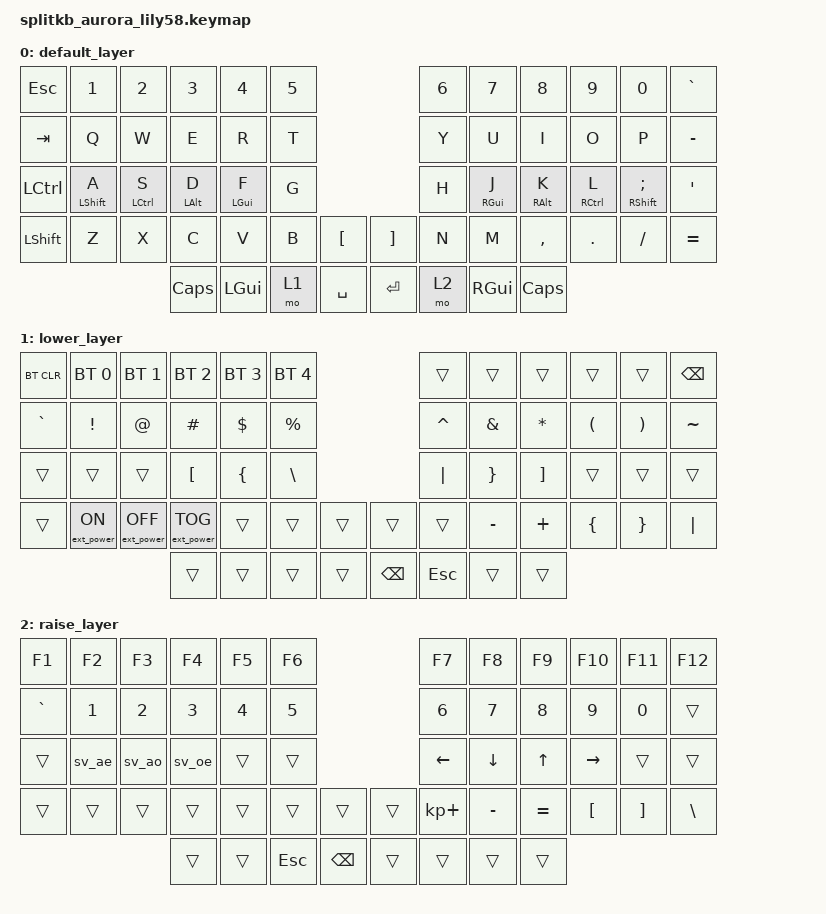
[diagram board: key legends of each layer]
/*
 * Copyright (c) 2022 The ZMK Contributors
 *
 * SPDX-License-Identifier: MIT
 */
#define HOST_OS 1

#include <behaviors.dtsi>
#include <dt-bindings/zmk/keys.h>
#include <dt-bindings/zmk/bt.h>
#include <dt-bindings/zmk/ext_power.h>
#include <zmk-helpers/helper.h>
#include <zmk-helpers/key-labels/lily58.h>
#include <zmk-helpers/unicode-chars/swedish.dtsi>

// lily58 keymap defined in zmk-helpers/key-labels/lily58.h
// ╭────────────────────────────┬────────────────────────────╮ ╭─────────────────────────────┬─────────────────────────────╮
// │  0   1   2   3   4   5     │      6   7   8   9  10  11 │ │ LT5 LT4 LT3 LT2 LT1 LT0     │     RT0 RT1 RT2 RT3 RT4 RT5 │
// │ 12  13  14  15  16  17     │     18  19  20  21  22  23 │ │ LM5 LM4 LM3 LM2 LM1 LM0     │     RM0 RM1 RM2 RM3 RM4 RM5 │
// │ 24  25  26  27  28  29     │     30  31  32  33  34  35 │ │ LB5 LB4 LB3 LB2 LB1 LB0     │     RB0 RB1 RB2 RB3 RB4 RB5 │
// │ 36  37  38  39  40  41  42 │ 43  44  45  46  47  48  49 │ │ LF5 LF4 LF3 LF2 LF1 LF0 LEC │ REC RF0 RF1 RF2 RF3 RF4 RF5 │
// ╰───────────╮ 50  51  52  53 │ 54  55  56  57 ╭───────────╯ ╰───────────╮ LH3 LH2 LH1 LH0 │ RH0 RH1 RH2 RH3 ╭───────────╯
//             ╰────────────────┴────────────────╯                         ╰─────────────────┴─────────────────╯             */
//

#define KEYS_L LT0 LT1 LT2 LT3 LT4 LT5 LM0 LM1 LM2 LM3 LM4 LM5 LB0 LB1 LB2 LB3 LB4 LB5 LF0 LF1 LF2 LF3 LF4 LF5 LEC // left-hand keys
#define KEYS_R RT0 RT1 RT2 RT3 RT4 RT5 RM0 RM1 RM2 RM3 RM4 RM5 RB0 RB1 RB2 RB3 RB4 RB5 RF0 RF1 RF2 RF3 RF4 RF5 REC // right-hand keys
#define THUMBS LH3 LH2 LH1 LH0 RH0 RH1 RH2 RH3                                                                     // thumb keys

#define COMBO_TERM_FAST 18
#define COMBO_TERM_SLOW 30

#define COMBO_IDLE_FAST 150
#define COMBO_IDLE_SLOW 50


ZMK_COMBO(esc,&kp ESC,  RH1 LH1, ALL, COMBO_TERM_FAST, COMBO_IDLE_FAST)

/* left-hand HRMs */
ZMK_HOLD_TAP(hml,
    flavor = "balanced";
    tapping-term-ms = <280>;
    quick-tap-ms = <175>;                // repeat on tap-into-hold
    require-prior-idle-ms = <150>;
    bindings = <&kp>, <&kp>;
    hold-trigger-key-positions = <KEYS_R THUMBS>;
    hold-trigger-on-release;             // delay positional check until key-release
)

/* right-hand HRMs */
ZMK_HOLD_TAP(hmr,
    flavor = "balanced";
    tapping-term-ms = <280>;
    quick-tap-ms = <175>;                // repeat on tap-into-hold
    require-prior-idle-ms = <150>;
    bindings = <&kp>, <&kp>;
    hold-trigger-key-positions = <KEYS_L THUMBS>;
    hold-trigger-on-release;             // delay positional check until key-release
)


// ┌───────┬───────┬───────┬───────┬───────┬───────┬───────┬───────┬───────┬───────┬───────┬───────┬───────┬───────┐
// │ ESC   │  1    │  2    │  3    │  4    │  5    │       │       │  6    │  7    │  8    │  9    │  0    │  `    │
// ├───────┼───────┼───────┼───────┼───────┼───────┼───────┼───────┼───────┼───────┼───────┼───────┼───────┼───────┤
// │ TAB   │  Q    │  W    │  E    │  R    │  T    │       │       │  Y    │  U    │  I    │  O    │  P    │  -    │
// ├───────┼───────┼───────┼───────┼───────┼───────┼───────┼───────┼───────┼───────┼───────┼───────┼───────┼───────┤
// │ CTRL  │LGUI/A │LCTRL/S│LALT/D │LSHFT/F│  G    │       │       │  H    │RSHFT/J│RALT/K │RCTRL/L│RGUI/; │  '    │
// ├───────┼───────┼───────┼───────┼───────┼───────┼───────┼───────┼───────┼───────┼───────┼───────┼───────┼───────┤
// │ SHIFT │  Z    │  X    │  C    │  V    │  B    │  [    │  ]    │  N    │  M    │  ,    │  .    │  /    │  =    │
// └───────┴───────┴───────┴───────┴───────┴───────┴───────┴───────┴───────┴───────┴───────┴───────┴───────┴───────┘
//                         │ CAPS  │ LGUI  │ LOWER │ SPACE │ ENTER │ RAISE │ RGUI  │ CAPS  │
//                         └───────┴───────┴───────┴───────┴───────┴───────┴───────┴───────┘
ZMK_LAYER(default_layer,
    &kp ESC    &kp N1      &kp N2         &kp N3         &kp N4         &kp N5                     &kp N6    &kp N7         &kp N8         &kp N9         &kp N0         &kp GRAVE
    &kp TAB    &kp Q       &kp W          &kp E          &kp R          &kp T                      &kp Y     &kp U          &kp I          &kp O          &kp P          &kp MINUS
    &kp LCTRL  &hml LSHIFT A &hml LCTRL S   &hml LALT D    &hml LGUI F  &kp G                      &kp H     &hmr RGUI J  &hmr RALT K    &hmr RCTRL L   &hmr RSHFT SEMI &kp SQT
    &kp LSHFT  &kp Z       &kp X          &kp C          &kp V          &kp B    &kp LBKT   &kp RBKT &kp N    &kp M          &kp COMMA      &kp DOT        &kp FSLH       &kp EQUAL
                                            &kp CAPSLOCK &kp LGUI       &mo 1    &kp SPACE   &kp RET  &mo 2    &kp RGUI       &kp CAPSLOCK
)

// ┌───────┬───────┬───────┬───────┬───────┬───────┬───────┬───────┬───────┬───────┬───────┬───────┬───────┬───────┐
// │ BTCLR │  BT1  │  BT2  │  BT3  │  BT4  │  BT5  │       │       │       │       │       │       │       │ BSPC  │
// ├───────┼───────┼───────┼───────┼───────┼───────┼───────┼───────┼───────┼───────┼───────┼───────┼───────┼───────┤
// │  `    │  !    │  @    │  #    │  $    │  %    │       │       │  ^    │  &    │  *    │  (    │  )    │  ~    │
// ├───────┼───────┼───────┼───────┼───────┼───────┼───────┼───────┼───────┼───────┼───────┼───────┼───────┼───────┤
// │       │       │       │  [    │  {    │  \    │       │       │  |    │  ]    │  }    │       │       │  "|"  │
// ├───────┼───────┼───────┼───────┼───────┼───────┼───────┼───────┼───────┼───────┼───────┼───────┼───────┼───────┤
// │       │ EPON  │ EPOFF │ EPTG  │       │       │       │       │       │  -    │  +    │  {    │  }    │  |    │
// └───────┴───────┴───────┴───────┴───────┴───────┴───────┴───────┴───────┴───────┴───────┴───────┴───────┴───────┘
//                         │       │       │       │       │ BSPC  │ ESC   │       │       │
//                         └───────┴───────┴───────┴───────┴───────┴───────┴───────┴───────┘
ZMK_LAYER(lower_layer,
    &bt BT_CLR &bt BT_SEL 0     &bt BT_SEL 1      &bt BT_SEL 2      &bt BT_SEL 3 &bt BT_SEL 4                 &trans    &trans    &trans          &trans    &trans    &kp BSPC
    &kp GRAVE  &kp EXCL         &kp AT            &kp HASH          &kp DOLLAR   &kp PRCNT                    &kp CARET &kp AMPS  &kp STAR        &kp LPAR  &kp RPAR  &kp TILDE
    &trans     &trans           &trans            &kp LBKT          &kp LBRC     &kp BSLH                     &kp PIPE  &kp RBRC  &kp RBKT        &trans    &trans    &trans
    &trans     &ext_power EP_ON &ext_power EP_OFF &ext_power EP_TOG &trans       &trans    &trans   &trans    &trans    &kp MINUS &kp PLUS        &kp LBRC  &kp RBRC  &kp PIPE
                                                  &trans            &trans       &trans    &trans   &kp BSPC  &kp ESC    &trans    &trans
)

// ┌───────┬───────┬───────┬───────┬───────┬───────┬───────┬───────┬───────┬───────┬───────┬───────┬───────┬───────┐
// │  F1   │  F2   │  F3   │  F4   │  F5   │  F6   │       │       │  F7   │  F8   │  F9   │  F10  │  F11  │  F12  │
// ├───────┼───────┼───────┼───────┼───────┼───────┼───────┼───────┼───────┼───────┼───────┼───────┼───────┼───────┤
// │  `    │  1    │  2    │  3    │  4    │  5    │       │       │  6    │  7    │  8    │  9    │  0    │       │
// ├───────┼───────┼───────┼───────┼───────┼───────┼───────┼───────┼───────┼───────┼───────┼───────┼───────┼───────┤
// │       │  Ä    │  Å    │  Ö    │       │       │       │       │  ←    │  v    │  ^    │  →    │       │       │
// ├───────┼───────┼───────┼───────┼───────┼───────┼───────┼───────┼───────┼───────┼───────┼───────┼───────┼───────┤
// │       │       │       │       │       │       │       │       │  +    │  -    │  =    │  [    │  ]    │  \    │
// └───────┴───────┴───────┴───────┴───────┴───────┴───────┴───────┴───────┴───────┴───────┴───────┴───────┴───────┘
//                         │       │       │ ESC   │ BSPC  │       │       │       │       │
//                         └───────┴───────┴───────┴───────┴───────┴───────┴───────┴───────┘
ZMK_LAYER(raise_layer,
    &kp F1    &kp F2    &kp F3    &kp F4     &kp F5   &kp F6                       &kp F7      &kp F8    &kp F9    &kp F10   &kp F11   &kp F12
    &kp GRAVE &kp N1    &kp N2    &kp N3     &kp N4   &kp N5                       &kp N6      &kp N7    &kp N8    &kp N9    &kp N0    &trans
    &trans    &sv_ae    &sv_ao    &sv_oe     &trans   &trans                       &kp LEFT    &kp DOWN  &kp UP    &kp RIGHT &trans    &trans
    &trans    &trans    &trans    &trans     &trans   &trans   &trans    &trans    &kp KP_PLUS &kp MINUS &kp EQUAL &kp LBKT  &kp RBKT  &kp BSLH
                                  &trans     &trans   &kp ESC   &kp BSPC  &trans    &trans      &trans    &trans
)
